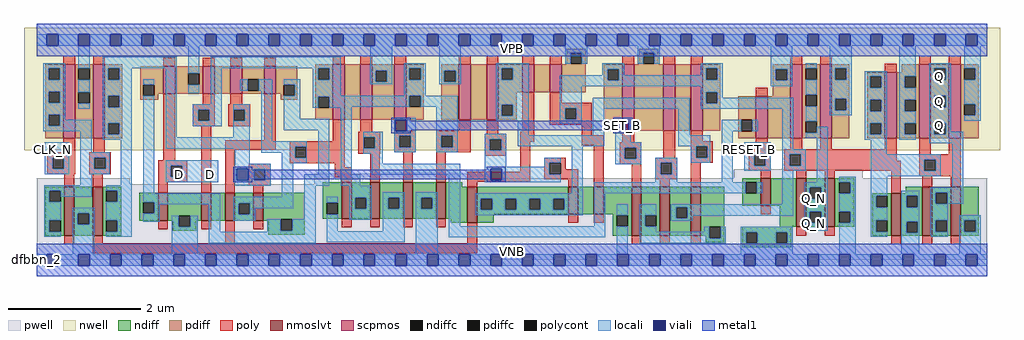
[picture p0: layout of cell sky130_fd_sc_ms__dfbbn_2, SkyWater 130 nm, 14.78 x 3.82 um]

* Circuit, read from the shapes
.subckt sky130_fd_sc_ms__dfbbn_2 CLK_N D RESET_B SET_B VGND VNB VPB VPWR Q Q_N
XM1 VGND CLK_N n1 VNB sky130_fd_pr__nfet_01v8_lvt w=0.74 l=0.15
XM2 n2 n1 VGND VNB sky130_fd_pr__nfet_01v8_lvt w=0.74 l=0.15
XM3 VGND D n3 VNB sky130_fd_pr__nfet_01v8_lvt w=0.42 l=0.15
XM4 n4 n5 VGND VNB sky130_fd_pr__nfet_01v8_lvt w=0.42 l=0.15
XM5 n6 n1 n4 VNB sky130_fd_pr__nfet_01v8_lvt w=0.42 l=0.15
XM6 n3 n2 n6 VNB sky130_fd_pr__nfet_01v8_lvt w=0.42 l=0.15
XM7 n5 n6 n7 VNB sky130_fd_pr__nfet_01v8_lvt w=0.55 l=0.15
XM8 n7 n8 n5 VNB sky130_fd_pr__nfet_01v8_lvt w=0.55 l=0.15
XM9 VGND SET_B n7 VNB sky130_fd_pr__nfet_01v8_lvt w=0.55 l=0.15
XM10 n9 n5 VGND VNB sky130_fd_pr__nfet_01v8_lvt w=0.55 l=0.15
XM11 n10 n1 n9 VNB sky130_fd_pr__nfet_01v8_lvt w=0.55 l=0.15
XM12 n11 n2 n10 VNB sky130_fd_pr__nfet_01v8_lvt w=0.42 l=0.15
XM13 VGND n12 n11 VNB sky130_fd_pr__nfet_01v8_lvt w=0.42 l=0.15
XM14 n13 SET_B VGND VNB sky130_fd_pr__nfet_01v8_lvt w=0.74 l=0.15
XM15 n12 n8 n13 VNB sky130_fd_pr__nfet_01v8_lvt w=0.74 l=0.15
XM16 n13 n10 n12 VNB sky130_fd_pr__nfet_01v8_lvt w=0.74 l=0.15
XM17 VGND RESET_B n8 VNB sky130_fd_pr__nfet_01v8_lvt w=0.42 l=0.15
XM18 Q_N n12 VGND VNB sky130_fd_pr__nfet_01v8_lvt w=0.74 l=0.15 m=2
XM19 VGND n12 n14 VNB sky130_fd_pr__nfet_01v8_lvt w=0.64 l=0.15
XM20 Q n14 VGND VNB sky130_fd_pr__nfet_01v8_lvt w=0.74 l=0.15 m=2
XM21 VPWR CLK_N n1 VPB sky130_fd_pr__pfet_01v8 w=1.12 l=0.18
XM22 n2 n1 VPWR VPB sky130_fd_pr__pfet_01v8 w=1.12 l=0.18
XM23 VPWR D n3 VPB sky130_fd_pr__pfet_01v8 w=0.42 l=0.18
XM24 n15 n5 VPWR VPB sky130_fd_pr__pfet_01v8 w=0.42 l=0.18
XM25 n6 n2 n15 VPB sky130_fd_pr__pfet_01v8 w=0.42 l=0.18
XM26 n3 n1 n6 VPB sky130_fd_pr__pfet_01v8 w=0.42 l=0.18
XM27 n16 n6 n5 VPB sky130_fd_pr__pfet_01v8 w=0.84 l=0.18
XM28 VPWR n8 n16 VPB sky130_fd_pr__pfet_01v8 w=0.84 l=0.18
XM29 n5 SET_B VPWR VPB sky130_fd_pr__pfet_01v8 w=0.84 l=0.18
XM30 n17 n5 VPWR VPB sky130_fd_pr__pfet_01v8 w=0.84 l=0.18
XM31 n10 n2 n17 VPB sky130_fd_pr__pfet_01v8 w=0.84 l=0.18
XM32 n18 n1 n10 VPB sky130_fd_pr__pfet_01v8 w=0.42 l=0.18
XM33 VPWR n12 n18 VPB sky130_fd_pr__pfet_01v8 w=0.42 l=0.18
XM34 VPWR SET_B n12 VPB sky130_fd_pr__pfet_01v8 w=1 l=0.18
XM35 n19 n8 VPWR VPB sky130_fd_pr__pfet_01v8 w=1 l=0.18
XM36 n12 n10 n19 VPB sky130_fd_pr__pfet_01v8 w=1 l=0.18
XM37 VPWR RESET_B n8 VPB sky130_fd_pr__pfet_01v8 w=0.64 l=0.18
XM38 Q_N n12 VPWR VPB sky130_fd_pr__pfet_01v8 w=1.12 l=0.18 m=2
XM39 VPWR n12 n14 VPB sky130_fd_pr__pfet_01v8 w=1 l=0.18
XM40 Q n14 VPWR VPB sky130_fd_pr__pfet_01v8 w=1.12 l=0.18 m=2
.ends

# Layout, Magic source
magic
tech sky130A
magscale 1 2
<< nwell >>
rect -38 332 2918 704
<< pwell >>
rect 841 248 1316 261
rect 2111 248 2503 274
rect 1 229 283 248
rect 841 229 2879 248
rect 1 49 2879 229
rect 0 0 2880 49
<< scpmos >>
rect 81 368 117 592
rect 171 368 207 592
rect 384 503 420 587
rect 503 503 539 587
rect 587 503 623 587
rect 689 503 725 587
rect 897 424 933 592
rect 981 424 1017 592
rect 1083 424 1119 592
rect 1279 424 1315 592
rect 1363 424 1399 592
rect 1471 508 1507 592
rect 1555 508 1591 592
rect 1774 392 1810 592
rect 1898 392 1934 592
rect 1982 392 2018 592
rect 2178 368 2214 496
rect 2283 368 2319 592
rect 2373 368 2409 592
rect 2569 368 2605 568
rect 2673 368 2709 592
rect 2763 368 2799 592
<< nmoslvt >>
rect 84 74 114 222
rect 170 74 200 222
rect 368 119 398 203
rect 499 119 529 203
rect 571 119 601 203
rect 657 119 687 203
rect 924 125 954 235
rect 1010 125 1040 235
rect 1110 125 1140 235
rect 1210 125 1240 235
rect 1305 112 1335 222
rect 1610 138 1640 222
rect 1688 138 1718 222
rect 1802 74 1832 222
rect 1888 74 1918 222
rect 1982 74 2012 222
rect 2193 164 2223 248
rect 2301 100 2331 248
rect 2387 100 2417 248
rect 2588 74 2618 202
rect 2683 74 2713 222
rect 2769 74 2799 222
<< ndiff >>
rect 27 210 84 222
rect 27 176 39 210
rect 73 176 84 210
rect 27 120 84 176
rect 27 86 39 120
rect 73 86 84 120
rect 27 74 84 86
rect 114 142 170 222
rect 114 108 125 142
rect 159 108 170 142
rect 114 74 170 108
rect 200 210 257 222
rect 200 176 211 210
rect 245 176 257 210
rect 200 120 257 176
rect 200 86 211 120
rect 245 86 257 120
rect 311 175 368 203
rect 311 141 323 175
rect 357 141 368 175
rect 311 119 368 141
rect 398 134 499 203
rect 398 119 431 134
rect 413 100 431 119
rect 465 119 499 134
rect 529 119 571 203
rect 601 172 657 203
rect 601 138 612 172
rect 646 138 657 172
rect 601 119 657 138
rect 687 123 813 203
rect 867 173 924 235
rect 867 139 879 173
rect 913 139 924 173
rect 867 125 924 139
rect 954 189 1010 235
rect 954 155 965 189
rect 999 155 1010 189
rect 954 125 1010 155
rect 1040 189 1110 235
rect 1040 155 1065 189
rect 1099 155 1110 189
rect 1040 125 1110 155
rect 1140 189 1210 235
rect 1140 155 1165 189
rect 1199 155 1210 189
rect 1140 125 1210 155
rect 1240 222 1290 235
rect 2137 236 2193 248
rect 1240 125 1305 222
rect 687 119 740 123
rect 465 100 484 119
rect 413 88 484 100
rect 200 74 257 86
rect 702 89 740 119
rect 774 89 813 123
rect 1255 112 1305 125
rect 1335 186 1610 222
rect 1335 152 1346 186
rect 1380 152 1419 186
rect 1453 152 1492 186
rect 1526 152 1565 186
rect 1599 152 1610 186
rect 1335 138 1610 152
rect 1640 138 1688 222
rect 1718 138 1802 222
rect 1335 112 1385 138
rect 1745 136 1802 138
rect 702 77 813 89
rect 1745 102 1757 136
rect 1791 102 1802 136
rect 1745 74 1802 102
rect 1832 136 1888 222
rect 1832 102 1843 136
rect 1877 102 1888 136
rect 1832 74 1888 102
rect 1918 160 1982 222
rect 1918 126 1937 160
rect 1971 126 1982 160
rect 1918 74 1982 126
rect 2012 100 2083 222
rect 2137 202 2148 236
rect 2182 202 2193 236
rect 2137 164 2193 202
rect 2223 164 2301 248
rect 2251 100 2301 164
rect 2331 220 2387 248
rect 2331 186 2342 220
rect 2376 186 2387 220
rect 2331 146 2387 186
rect 2331 112 2342 146
rect 2376 112 2387 146
rect 2331 100 2387 112
rect 2417 236 2477 248
rect 2417 202 2431 236
rect 2465 202 2477 236
rect 2633 202 2683 222
rect 2417 146 2477 202
rect 2417 112 2431 146
rect 2465 112 2477 146
rect 2417 100 2477 112
rect 2531 194 2588 202
rect 2531 160 2543 194
rect 2577 160 2588 194
rect 2531 120 2588 160
rect 2012 74 2038 100
rect 2027 66 2038 74
rect 2072 66 2083 100
rect 2027 54 2083 66
rect 2137 84 2286 100
rect 2137 50 2149 84
rect 2183 50 2240 84
rect 2274 50 2286 84
rect 2531 86 2543 120
rect 2577 86 2588 120
rect 2531 74 2588 86
rect 2618 194 2683 202
rect 2618 160 2635 194
rect 2669 160 2683 194
rect 2618 116 2683 160
rect 2618 82 2635 116
rect 2669 82 2683 116
rect 2618 74 2683 82
rect 2713 204 2769 222
rect 2713 170 2724 204
rect 2758 170 2769 204
rect 2713 120 2769 170
rect 2713 86 2724 120
rect 2758 86 2769 120
rect 2713 74 2769 86
rect 2799 120 2853 222
rect 2799 86 2810 120
rect 2844 86 2853 120
rect 2799 74 2853 86
rect 2137 38 2286 50
<< pdiff >>
rect 1606 628 1664 639
rect 27 580 81 592
rect 27 546 37 580
rect 71 546 81 580
rect 27 510 81 546
rect 27 476 37 510
rect 71 476 81 510
rect 27 440 81 476
rect 27 406 37 440
rect 71 406 81 440
rect 27 368 81 406
rect 117 580 171 592
rect 117 546 127 580
rect 161 546 171 580
rect 117 508 171 546
rect 117 474 127 508
rect 161 474 171 508
rect 117 368 171 474
rect 207 580 260 592
rect 1606 594 1618 628
rect 1652 594 1664 628
rect 1825 628 1883 639
rect 1606 592 1664 594
rect 1825 594 1837 628
rect 1871 594 1883 628
rect 1825 592 1883 594
rect 207 546 217 580
rect 251 546 260 580
rect 207 497 260 546
rect 207 463 217 497
rect 251 463 260 497
rect 314 531 384 587
rect 314 497 323 531
rect 357 503 384 531
rect 420 565 503 587
rect 420 531 459 565
rect 493 531 503 565
rect 420 503 503 531
rect 539 503 587 587
rect 623 547 689 587
rect 623 513 639 547
rect 673 513 689 547
rect 623 503 689 513
rect 725 531 790 587
rect 725 503 748 531
rect 357 497 369 503
rect 314 485 369 497
rect 207 414 260 463
rect 207 380 217 414
rect 251 380 260 414
rect 207 368 260 380
rect 740 497 748 503
rect 782 497 790 531
rect 740 485 790 497
rect 844 580 897 592
rect 844 546 853 580
rect 887 546 897 580
rect 844 495 897 546
rect 844 461 853 495
rect 887 461 897 495
rect 844 424 897 461
rect 933 424 981 592
rect 1017 573 1083 592
rect 1017 539 1027 573
rect 1061 539 1083 573
rect 1017 424 1083 539
rect 1119 580 1172 592
rect 1119 546 1129 580
rect 1163 546 1172 580
rect 1119 498 1172 546
rect 1119 464 1129 498
rect 1163 464 1172 498
rect 1119 424 1172 464
rect 1226 573 1279 592
rect 1226 539 1235 573
rect 1269 539 1279 573
rect 1226 424 1279 539
rect 1315 424 1363 592
rect 1399 580 1471 592
rect 1399 546 1409 580
rect 1443 546 1471 580
rect 1399 508 1471 546
rect 1507 508 1555 592
rect 1591 508 1664 592
rect 1718 578 1774 592
rect 1718 544 1730 578
rect 1764 544 1774 578
rect 1399 470 1455 508
rect 1399 436 1409 470
rect 1443 436 1455 470
rect 1399 424 1455 436
rect 1718 392 1774 544
rect 1810 392 1898 592
rect 1934 392 1982 592
rect 2018 580 2071 592
rect 2018 546 2028 580
rect 2062 546 2071 580
rect 2018 508 2071 546
rect 2229 578 2283 592
rect 2229 544 2239 578
rect 2273 544 2283 578
rect 2018 474 2028 508
rect 2062 474 2071 508
rect 2229 496 2283 544
rect 2018 392 2071 474
rect 2125 424 2178 496
rect 2125 390 2134 424
rect 2168 390 2178 424
rect 2125 368 2178 390
rect 2214 368 2283 496
rect 2319 580 2373 592
rect 2319 546 2329 580
rect 2363 546 2373 580
rect 2319 500 2373 546
rect 2319 466 2329 500
rect 2363 466 2373 500
rect 2319 420 2373 466
rect 2319 386 2329 420
rect 2363 386 2373 420
rect 2319 368 2373 386
rect 2409 580 2462 592
rect 2409 546 2419 580
rect 2453 546 2462 580
rect 2620 568 2673 592
rect 2409 488 2462 546
rect 2409 454 2419 488
rect 2453 454 2462 488
rect 2409 368 2462 454
rect 2516 556 2569 568
rect 2516 522 2525 556
rect 2559 522 2569 556
rect 2516 485 2569 522
rect 2516 451 2525 485
rect 2559 451 2569 485
rect 2516 414 2569 451
rect 2516 380 2525 414
rect 2559 380 2569 414
rect 2516 368 2569 380
rect 2605 556 2673 568
rect 2605 522 2629 556
rect 2663 522 2673 556
rect 2605 485 2673 522
rect 2605 451 2629 485
rect 2663 451 2673 485
rect 2605 414 2673 451
rect 2605 380 2629 414
rect 2663 380 2673 414
rect 2605 368 2673 380
rect 2709 580 2763 592
rect 2709 546 2719 580
rect 2753 546 2763 580
rect 2709 497 2763 546
rect 2709 463 2719 497
rect 2753 463 2763 497
rect 2709 414 2763 463
rect 2709 380 2719 414
rect 2753 380 2763 414
rect 2709 368 2763 380
rect 2799 580 2853 592
rect 2799 546 2809 580
rect 2843 546 2853 580
rect 2799 472 2853 546
rect 2799 438 2809 472
rect 2843 438 2853 472
rect 2799 368 2853 438
<< ndiffc >>
rect 39 176 73 210
rect 39 86 73 120
rect 125 108 159 142
rect 211 176 245 210
rect 211 86 245 120
rect 323 141 357 175
rect 431 100 465 134
rect 612 138 646 172
rect 879 139 913 173
rect 965 155 999 189
rect 1065 155 1099 189
rect 1165 155 1199 189
rect 740 89 774 123
rect 1346 152 1380 186
rect 1419 152 1453 186
rect 1492 152 1526 186
rect 1565 152 1599 186
rect 1757 102 1791 136
rect 1843 102 1877 136
rect 1937 126 1971 160
rect 2148 202 2182 236
rect 2342 186 2376 220
rect 2342 112 2376 146
rect 2431 202 2465 236
rect 2431 112 2465 146
rect 2543 160 2577 194
rect 2038 66 2072 100
rect 2149 50 2183 84
rect 2240 50 2274 84
rect 2543 86 2577 120
rect 2635 160 2669 194
rect 2635 82 2669 116
rect 2724 170 2758 204
rect 2724 86 2758 120
rect 2810 86 2844 120
<< pdiffc >>
rect 37 546 71 580
rect 37 476 71 510
rect 37 406 71 440
rect 127 546 161 580
rect 127 474 161 508
rect 1618 594 1652 628
rect 1837 594 1871 628
rect 217 546 251 580
rect 217 463 251 497
rect 323 497 357 531
rect 459 531 493 565
rect 639 513 673 547
rect 217 380 251 414
rect 748 497 782 531
rect 853 546 887 580
rect 853 461 887 495
rect 1027 539 1061 573
rect 1129 546 1163 580
rect 1129 464 1163 498
rect 1235 539 1269 573
rect 1409 546 1443 580
rect 1730 544 1764 578
rect 1409 436 1443 470
rect 2028 546 2062 580
rect 2239 544 2273 578
rect 2028 474 2062 508
rect 2134 390 2168 424
rect 2329 546 2363 580
rect 2329 466 2363 500
rect 2329 386 2363 420
rect 2419 546 2453 580
rect 2419 454 2453 488
rect 2525 522 2559 556
rect 2525 451 2559 485
rect 2525 380 2559 414
rect 2629 522 2663 556
rect 2629 451 2663 485
rect 2629 380 2663 414
rect 2719 546 2753 580
rect 2719 463 2753 497
rect 2719 380 2753 414
rect 2809 546 2843 580
rect 2809 438 2843 472
<< poly >>
rect 81 592 117 618
rect 171 592 207 618
rect 384 587 420 613
rect 503 587 539 613
rect 587 587 623 613
rect 689 587 725 613
rect 897 592 933 618
rect 981 592 1017 618
rect 1083 592 1119 618
rect 1279 592 1315 618
rect 1363 592 1399 618
rect 1471 592 1507 618
rect 1555 592 1591 618
rect 1774 592 1810 618
rect 1898 592 1934 618
rect 1982 592 2018 618
rect 2283 592 2319 618
rect 2373 592 2409 618
rect 81 326 117 368
rect 171 326 207 368
rect 33 310 117 326
rect 33 276 49 310
rect 83 276 117 310
rect 33 260 117 276
rect 159 310 225 326
rect 159 276 175 310
rect 209 276 225 310
rect 384 302 420 503
rect 503 471 539 503
rect 587 471 623 503
rect 473 455 539 471
rect 473 421 489 455
rect 523 421 539 455
rect 473 405 539 421
rect 581 455 647 471
rect 581 421 597 455
rect 631 421 647 455
rect 581 405 647 421
rect 159 260 225 276
rect 368 286 457 302
rect 84 222 114 260
rect 170 222 200 260
rect 368 252 407 286
rect 441 252 457 286
rect 368 236 457 252
rect 368 203 398 236
rect 499 203 529 405
rect 689 363 725 503
rect 571 333 725 363
rect 897 359 933 424
rect 981 388 1017 424
rect 1083 392 1119 424
rect 1279 392 1315 424
rect 767 343 933 359
rect 571 203 601 333
rect 767 309 783 343
rect 817 309 933 343
rect 975 372 1041 388
rect 975 338 991 372
rect 1025 338 1041 372
rect 975 322 1041 338
rect 1083 376 1149 392
rect 1083 342 1099 376
rect 1133 342 1149 376
rect 1083 326 1149 342
rect 1210 376 1315 392
rect 1363 382 1399 424
rect 1471 388 1507 508
rect 1555 476 1591 508
rect 1555 460 1681 476
rect 1555 426 1601 460
rect 1635 426 1681 460
rect 1555 410 1681 426
rect 1210 342 1226 376
rect 1260 342 1315 376
rect 1210 326 1315 342
rect 1357 366 1423 382
rect 1357 332 1373 366
rect 1407 332 1423 366
rect 767 293 933 309
rect 643 275 709 291
rect 643 241 659 275
rect 693 241 709 275
rect 903 280 933 293
rect 903 250 954 280
rect 643 225 709 241
rect 924 235 954 250
rect 1010 235 1040 322
rect 1110 235 1140 326
rect 1210 235 1240 326
rect 1357 316 1423 332
rect 1465 358 1507 388
rect 1651 377 1681 410
rect 2178 496 2214 522
rect 1465 267 1495 358
rect 1651 347 1718 377
rect 1774 356 1810 392
rect 1305 237 1495 267
rect 1537 294 1603 310
rect 1537 260 1553 294
rect 1587 274 1603 294
rect 1587 260 1640 274
rect 1537 244 1640 260
rect 657 203 687 225
rect 368 93 398 119
rect 1305 222 1335 237
rect 1610 222 1640 244
rect 1688 222 1718 347
rect 1766 340 1832 356
rect 1766 306 1782 340
rect 1816 306 1832 340
rect 1898 310 1934 392
rect 1982 360 2018 392
rect 2569 568 2605 594
rect 2673 592 2709 618
rect 2763 592 2799 618
rect 1982 344 2048 360
rect 1982 310 1998 344
rect 2032 310 2048 344
rect 2178 336 2214 368
rect 2283 336 2319 368
rect 2373 336 2409 368
rect 2569 336 2605 368
rect 1766 290 1832 306
rect 1802 222 1832 290
rect 1874 294 1940 310
rect 1874 260 1890 294
rect 1924 260 1940 294
rect 1874 244 1940 260
rect 1982 294 2048 310
rect 2157 320 2223 336
rect 1888 222 1918 244
rect 1982 222 2012 294
rect 2157 286 2173 320
rect 2207 286 2223 320
rect 2157 270 2223 286
rect 2265 320 2605 336
rect 2265 286 2281 320
rect 2315 300 2605 320
rect 2673 320 2709 368
rect 2763 320 2799 368
rect 2673 304 2799 320
rect 2315 286 2618 300
rect 2265 270 2618 286
rect 2193 248 2223 270
rect 2301 248 2331 270
rect 2387 248 2417 270
rect 499 93 529 119
rect 84 48 114 74
rect 170 51 200 74
rect 571 51 601 119
rect 657 93 687 119
rect 924 99 954 125
rect 1010 99 1040 125
rect 1110 99 1140 125
rect 1210 99 1240 125
rect 1610 112 1640 138
rect 1688 112 1718 138
rect 1305 51 1335 112
rect 2193 138 2223 164
rect 2588 202 2618 270
rect 2673 270 2689 304
rect 2723 270 2799 304
rect 2673 254 2799 270
rect 2683 222 2713 254
rect 2769 222 2799 254
rect 170 21 1335 51
rect 1802 48 1832 74
rect 1888 48 1918 74
rect 1982 48 2012 74
rect 2301 74 2331 100
rect 2387 74 2417 100
rect 2588 48 2618 74
rect 2683 48 2713 74
rect 2769 48 2799 74
<< polycont >>
rect 49 276 83 310
rect 175 276 209 310
rect 489 421 523 455
rect 597 421 631 455
rect 407 252 441 286
rect 783 309 817 343
rect 991 338 1025 372
rect 1099 342 1133 376
rect 1601 426 1635 460
rect 1226 342 1260 376
rect 1373 332 1407 366
rect 659 241 693 275
rect 1553 260 1587 294
rect 1782 306 1816 340
rect 1998 310 2032 344
rect 1890 260 1924 294
rect 2173 286 2207 320
rect 2281 286 2315 320
rect 2689 270 2723 304
<< locali >>
rect 0 649 31 683
rect 65 649 127 683
rect 161 649 223 683
rect 257 649 319 683
rect 353 649 415 683
rect 449 649 511 683
rect 545 649 607 683
rect 641 649 703 683
rect 737 649 799 683
rect 833 649 895 683
rect 929 649 991 683
rect 1025 649 1087 683
rect 1121 649 1183 683
rect 1217 649 1279 683
rect 1313 649 1375 683
rect 1409 649 1471 683
rect 1505 649 1567 683
rect 1601 649 1663 683
rect 1697 649 1759 683
rect 1793 649 1855 683
rect 1889 649 1951 683
rect 1985 649 2047 683
rect 2081 649 2143 683
rect 2177 649 2239 683
rect 2273 649 2335 683
rect 2369 649 2431 683
rect 2465 649 2527 683
rect 2561 649 2623 683
rect 2657 649 2719 683
rect 2753 649 2815 683
rect 2849 649 2880 683
rect 21 580 87 596
rect 21 546 37 580
rect 71 546 87 580
rect 21 510 87 546
rect 21 476 37 510
rect 71 476 87 510
rect 21 440 87 476
rect 127 580 161 649
rect 127 508 161 546
rect 127 458 161 474
rect 201 581 425 615
rect 201 580 289 581
rect 201 546 217 580
rect 251 546 289 580
rect 201 497 289 546
rect 201 463 217 497
rect 251 463 289 497
rect 21 406 37 440
rect 71 424 87 440
rect 71 406 167 424
rect 21 390 167 406
rect 25 310 99 356
rect 25 276 49 310
rect 83 276 99 310
rect 25 260 99 276
rect 133 326 167 390
rect 201 414 289 463
rect 201 380 217 414
rect 251 380 289 414
rect 201 364 289 380
rect 133 310 221 326
rect 133 276 175 310
rect 209 276 221 310
rect 133 260 221 276
rect 133 226 167 260
rect 255 226 289 364
rect 23 210 167 226
rect 23 176 39 210
rect 73 192 167 210
rect 211 210 289 226
rect 23 120 73 176
rect 245 176 289 210
rect 23 86 39 120
rect 23 70 73 86
rect 109 142 175 158
rect 109 108 125 142
rect 159 108 175 142
rect 109 17 175 108
rect 211 120 289 176
rect 245 86 289 120
rect 323 531 357 547
rect 323 202 357 497
rect 391 371 425 581
rect 459 565 493 649
rect 459 505 493 531
rect 527 581 921 615
rect 527 471 561 581
rect 837 580 921 581
rect 617 513 639 547
rect 673 513 714 547
rect 473 455 561 471
rect 473 421 489 455
rect 523 421 561 455
rect 473 405 561 421
rect 595 455 646 471
rect 595 421 597 455
rect 631 421 646 455
rect 595 371 646 421
rect 391 337 646 371
rect 391 286 551 302
rect 391 252 407 286
rect 441 252 551 286
rect 391 236 551 252
rect 601 291 646 337
rect 680 359 714 513
rect 748 531 798 547
rect 782 497 798 531
rect 748 427 798 497
rect 837 546 853 580
rect 887 546 921 580
rect 837 498 921 546
rect 1011 573 1077 649
rect 1011 539 1027 573
rect 1061 539 1077 573
rect 1011 532 1077 539
rect 1113 580 1179 596
rect 1113 546 1129 580
rect 1163 546 1179 580
rect 1113 498 1179 546
rect 1219 573 1285 649
rect 1602 628 1668 649
rect 1219 539 1235 573
rect 1269 539 1285 573
rect 1219 532 1285 539
rect 1393 580 1491 596
rect 1602 594 1618 628
rect 1652 594 1668 628
rect 1821 628 1887 649
rect 1393 546 1409 580
rect 1443 546 1491 580
rect 1714 578 1780 596
rect 1821 594 1837 628
rect 1871 594 1887 628
rect 1714 560 1730 578
rect 837 495 1129 498
rect 837 461 853 495
rect 887 464 1129 495
rect 1163 464 1276 498
rect 887 461 955 464
rect 748 393 887 427
rect 680 343 819 359
rect 680 325 783 343
rect 743 309 783 325
rect 817 309 819 343
rect 743 293 819 309
rect 601 276 709 291
rect 601 242 607 276
rect 641 275 709 276
rect 641 242 659 275
rect 601 241 659 242
rect 693 241 709 275
rect 601 225 709 241
rect 323 175 556 202
rect 743 191 777 293
rect 853 259 887 393
rect 357 168 556 175
rect 357 141 373 168
rect 323 115 373 141
rect 211 70 289 86
rect 409 100 431 134
rect 465 100 488 134
rect 409 17 488 100
rect 522 85 556 168
rect 596 172 777 191
rect 596 138 612 172
rect 646 157 777 172
rect 811 225 887 259
rect 921 259 955 461
rect 1083 424 1149 430
rect 1083 390 1087 424
rect 1121 390 1149 424
rect 989 372 1049 388
rect 989 338 991 372
rect 1025 338 1049 372
rect 989 322 1049 338
rect 1083 376 1149 390
rect 1083 342 1099 376
rect 1133 342 1149 376
rect 1083 326 1149 342
rect 1210 376 1276 464
rect 1393 470 1491 546
rect 1393 436 1409 470
rect 1443 436 1491 470
rect 1393 420 1491 436
rect 1210 342 1226 376
rect 1260 342 1276 376
rect 1210 326 1276 342
rect 1357 366 1423 382
rect 1357 332 1373 366
rect 1407 332 1423 366
rect 1457 378 1491 420
rect 1585 544 1730 560
rect 1764 560 1780 578
rect 2012 580 2078 596
rect 2012 560 2028 580
rect 1764 546 2028 560
rect 2062 546 2078 580
rect 1764 544 2078 546
rect 1585 526 2078 544
rect 2223 578 2289 649
rect 2223 544 2239 578
rect 2273 544 2289 578
rect 2223 526 2289 544
rect 2329 580 2363 596
rect 1585 460 1651 526
rect 2012 508 2078 526
rect 1585 426 1601 460
rect 1635 426 1651 460
rect 1585 412 1651 426
rect 1685 458 1978 492
rect 2012 474 2028 508
rect 2062 492 2078 508
rect 2329 500 2363 546
rect 2062 474 2292 492
rect 2012 458 2292 474
rect 1685 378 1719 458
rect 1457 344 1719 378
rect 1753 390 1759 424
rect 1793 390 1799 424
rect 1753 356 1799 390
rect 1944 378 1978 458
rect 2075 390 2134 424
rect 2168 390 2184 424
rect 1015 292 1049 322
rect 921 225 981 259
rect 1015 258 1283 292
rect 646 138 662 157
rect 596 119 662 138
rect 811 123 845 225
rect 947 224 981 225
rect 698 89 740 123
rect 774 89 845 123
rect 698 85 845 89
rect 522 51 845 85
rect 879 173 913 191
rect 879 87 913 139
rect 947 189 1015 224
rect 947 155 965 189
rect 999 155 1015 189
rect 947 121 1015 155
rect 1049 189 1115 205
rect 1049 155 1065 189
rect 1099 155 1115 189
rect 1049 87 1115 155
rect 879 53 1115 87
rect 1149 189 1215 205
rect 1149 155 1165 189
rect 1199 155 1215 189
rect 1149 17 1215 155
rect 1249 102 1283 258
rect 1357 282 1423 332
rect 1537 294 1587 310
rect 1537 282 1553 294
rect 1357 276 1553 282
rect 1357 242 1375 276
rect 1409 260 1553 276
rect 1409 242 1587 260
rect 1357 236 1587 242
rect 1621 202 1655 344
rect 1753 340 1832 356
rect 1944 344 2041 378
rect 1753 306 1782 340
rect 1816 306 1832 340
rect 1982 310 1998 344
rect 2032 310 2041 344
rect 1753 290 1832 306
rect 1874 294 1940 310
rect 1982 294 2041 310
rect 1874 260 1890 294
rect 1924 260 1940 294
rect 1874 236 1940 260
rect 2075 236 2109 390
rect 2143 320 2223 356
rect 2143 286 2173 320
rect 2207 286 2223 320
rect 2143 270 2223 286
rect 2258 336 2292 458
rect 2329 420 2363 466
rect 2403 580 2469 649
rect 2403 546 2419 580
rect 2453 546 2469 580
rect 2403 488 2469 546
rect 2403 454 2419 488
rect 2453 454 2469 488
rect 2403 438 2469 454
rect 2509 556 2575 572
rect 2509 522 2525 556
rect 2559 522 2575 556
rect 2509 485 2575 522
rect 2509 451 2525 485
rect 2559 451 2575 485
rect 2509 414 2575 451
rect 2363 386 2397 404
rect 2329 370 2397 386
rect 2258 320 2329 336
rect 2258 286 2281 320
rect 2315 286 2329 320
rect 2258 270 2329 286
rect 1330 186 1655 202
rect 1330 152 1346 186
rect 1380 152 1419 186
rect 1453 152 1492 186
rect 1526 152 1565 186
rect 1599 152 1655 186
rect 1330 136 1655 152
rect 1689 202 2148 236
rect 2182 202 2198 236
rect 1689 102 1723 202
rect 2258 168 2292 270
rect 2363 236 2397 370
rect 2509 380 2525 414
rect 2559 380 2575 414
rect 2509 364 2575 380
rect 2613 556 2663 649
rect 2613 522 2629 556
rect 2613 485 2663 522
rect 2613 451 2629 485
rect 2613 414 2663 451
rect 2613 380 2629 414
rect 2613 364 2663 380
rect 2703 580 2769 596
rect 2703 546 2719 580
rect 2753 546 2769 580
rect 2703 497 2769 546
rect 2703 463 2719 497
rect 2753 463 2769 497
rect 2703 414 2769 463
rect 2809 580 2859 649
rect 2843 546 2859 580
rect 2809 472 2859 546
rect 2843 438 2859 472
rect 2809 422 2859 438
rect 2703 380 2719 414
rect 2753 388 2769 414
rect 2753 380 2807 388
rect 2527 320 2575 364
rect 2703 354 2807 380
rect 2527 304 2739 320
rect 2527 270 2689 304
rect 2723 270 2739 304
rect 2527 254 2739 270
rect 1249 68 1723 102
rect 1757 136 1791 168
rect 1757 17 1791 102
rect 1827 136 1877 168
rect 1827 102 1843 136
rect 1921 160 2292 168
rect 1921 126 1937 160
rect 1971 134 2292 160
rect 2326 220 2397 236
rect 2326 186 2342 220
rect 2376 186 2397 220
rect 2326 146 2397 186
rect 1971 126 1987 134
rect 1921 119 1987 126
rect 1827 85 1877 102
rect 2326 112 2342 146
rect 2376 112 2397 146
rect 2022 85 2038 100
rect 1827 66 2038 85
rect 2072 66 2088 100
rect 1827 51 2088 66
rect 2133 84 2290 100
rect 2326 88 2397 112
rect 2431 236 2481 252
rect 2465 202 2481 236
rect 2431 146 2481 202
rect 2465 112 2481 146
rect 2133 50 2149 84
rect 2183 50 2240 84
rect 2274 50 2290 84
rect 2133 17 2290 50
rect 2431 17 2481 112
rect 2527 194 2577 254
rect 2773 220 2807 354
rect 2527 160 2543 194
rect 2527 120 2577 160
rect 2527 86 2543 120
rect 2527 70 2577 86
rect 2619 194 2674 210
rect 2619 160 2635 194
rect 2669 160 2674 194
rect 2619 116 2674 160
rect 2619 82 2635 116
rect 2669 82 2674 116
rect 2619 17 2674 82
rect 2708 204 2807 220
rect 2708 170 2724 204
rect 2758 170 2807 204
rect 2708 120 2760 170
rect 2708 86 2724 120
rect 2758 86 2760 120
rect 2708 70 2760 86
rect 2794 120 2860 136
rect 2794 86 2810 120
rect 2844 86 2860 120
rect 2794 17 2860 86
rect 0 -17 31 17
rect 65 -17 127 17
rect 161 -17 223 17
rect 257 -17 319 17
rect 353 -17 415 17
rect 449 -17 511 17
rect 545 -17 607 17
rect 641 -17 703 17
rect 737 -17 799 17
rect 833 -17 895 17
rect 929 -17 991 17
rect 1025 -17 1087 17
rect 1121 -17 1183 17
rect 1217 -17 1279 17
rect 1313 -17 1375 17
rect 1409 -17 1471 17
rect 1505 -17 1567 17
rect 1601 -17 1663 17
rect 1697 -17 1759 17
rect 1793 -17 1855 17
rect 1889 -17 1951 17
rect 1985 -17 2047 17
rect 2081 -17 2143 17
rect 2177 -17 2239 17
rect 2273 -17 2335 17
rect 2369 -17 2431 17
rect 2465 -17 2527 17
rect 2561 -17 2623 17
rect 2657 -17 2719 17
rect 2753 -17 2815 17
rect 2849 -17 2880 17
<< viali >>
rect 31 649 65 683
rect 127 649 161 683
rect 223 649 257 683
rect 319 649 353 683
rect 415 649 449 683
rect 511 649 545 683
rect 607 649 641 683
rect 703 649 737 683
rect 799 649 833 683
rect 895 649 929 683
rect 991 649 1025 683
rect 1087 649 1121 683
rect 1183 649 1217 683
rect 1279 649 1313 683
rect 1375 649 1409 683
rect 1471 649 1505 683
rect 1567 649 1601 683
rect 1663 649 1697 683
rect 1759 649 1793 683
rect 1855 649 1889 683
rect 1951 649 1985 683
rect 2047 649 2081 683
rect 2143 649 2177 683
rect 2239 649 2273 683
rect 2335 649 2369 683
rect 2431 649 2465 683
rect 2527 649 2561 683
rect 2623 649 2657 683
rect 2719 649 2753 683
rect 2815 649 2849 683
rect 607 242 641 276
rect 1087 390 1121 424
rect 1759 390 1793 424
rect 1375 242 1409 276
rect 31 -17 65 17
rect 127 -17 161 17
rect 223 -17 257 17
rect 319 -17 353 17
rect 415 -17 449 17
rect 511 -17 545 17
rect 607 -17 641 17
rect 703 -17 737 17
rect 799 -17 833 17
rect 895 -17 929 17
rect 991 -17 1025 17
rect 1087 -17 1121 17
rect 1183 -17 1217 17
rect 1279 -17 1313 17
rect 1375 -17 1409 17
rect 1471 -17 1505 17
rect 1567 -17 1601 17
rect 1663 -17 1697 17
rect 1759 -17 1793 17
rect 1855 -17 1889 17
rect 1951 -17 1985 17
rect 2047 -17 2081 17
rect 2143 -17 2177 17
rect 2239 -17 2273 17
rect 2335 -17 2369 17
rect 2431 -17 2465 17
rect 2527 -17 2561 17
rect 2623 -17 2657 17
rect 2719 -17 2753 17
rect 2815 -17 2849 17
<< metal1 >>
rect 0 683 2880 715
rect 0 649 31 683
rect 65 649 127 683
rect 161 649 223 683
rect 257 649 319 683
rect 353 649 415 683
rect 449 649 511 683
rect 545 649 607 683
rect 641 649 703 683
rect 737 649 799 683
rect 833 649 895 683
rect 929 649 991 683
rect 1025 649 1087 683
rect 1121 649 1183 683
rect 1217 649 1279 683
rect 1313 649 1375 683
rect 1409 649 1471 683
rect 1505 649 1567 683
rect 1601 649 1663 683
rect 1697 649 1759 683
rect 1793 649 1855 683
rect 1889 649 1951 683
rect 1985 649 2047 683
rect 2081 649 2143 683
rect 2177 649 2239 683
rect 2273 649 2335 683
rect 2369 649 2431 683
rect 2465 649 2527 683
rect 2561 649 2623 683
rect 2657 649 2719 683
rect 2753 649 2815 683
rect 2849 649 2880 683
rect 0 617 2880 649
rect 1075 424 1133 430
rect 1075 390 1087 424
rect 1121 421 1133 424
rect 1747 424 1805 430
rect 1747 421 1759 424
rect 1121 393 1759 421
rect 1121 390 1133 393
rect 1075 384 1133 390
rect 1747 390 1759 393
rect 1793 390 1805 424
rect 1747 384 1805 390
rect 595 276 653 282
rect 595 242 607 276
rect 641 273 653 276
rect 1363 276 1421 282
rect 1363 273 1375 276
rect 641 245 1375 273
rect 641 242 653 245
rect 595 236 653 242
rect 1363 242 1375 245
rect 1409 242 1421 276
rect 1363 236 1421 242
rect 0 17 2880 49
rect 0 -17 31 17
rect 65 -17 127 17
rect 161 -17 223 17
rect 257 -17 319 17
rect 353 -17 415 17
rect 449 -17 511 17
rect 545 -17 607 17
rect 641 -17 703 17
rect 737 -17 799 17
rect 833 -17 895 17
rect 929 -17 991 17
rect 1025 -17 1087 17
rect 1121 -17 1183 17
rect 1217 -17 1279 17
rect 1313 -17 1375 17
rect 1409 -17 1471 17
rect 1505 -17 1567 17
rect 1601 -17 1663 17
rect 1697 -17 1759 17
rect 1793 -17 1855 17
rect 1889 -17 1951 17
rect 1985 -17 2047 17
rect 2081 -17 2143 17
rect 2177 -17 2239 17
rect 2273 -17 2335 17
rect 2369 -17 2431 17
rect 2465 -17 2527 17
rect 2561 -17 2623 17
rect 2657 -17 2719 17
rect 2753 -17 2815 17
rect 2849 -17 2880 17
rect 0 -49 2880 -17
<< labels >>
flabel pwell s 0 0 2880 49 0 FreeSans 200 0 0 0 VNB
port 6 nsew ground bidirectional
flabel nwell s 0 617 2880 666 0 FreeSans 200 0 0 0 VPB
port 7 nsew power bidirectional
rlabel comment s 0 0 0 0 4 dfbbn_2
flabel metal1 s 1759 390 1793 424 0 FreeSans 340 0 0 0 SET_B
port 4 nsew signal input
flabel metal1 s 0 617 2880 666 0 FreeSans 340 0 0 0 VPWR
port 8 nsew power bidirectional
flabel metal1 s 0 0 2880 49 0 FreeSans 340 0 0 0 VGND
port 5 nsew ground bidirectional
flabel locali s 2143 316 2177 350 0 FreeSans 340 0 0 0 RESET_B
port 3 nsew signal input
flabel locali s 415 242 449 276 0 FreeSans 340 0 0 0 D
port 2 nsew signal input
flabel locali s 511 242 545 276 0 FreeSans 340 0 0 0 D
port 2 nsew signal input
flabel locali s 31 316 65 350 0 FreeSans 340 0 0 0 CLK_N
port 1 nsew clock input
flabel locali s 2335 94 2369 128 0 FreeSans 340 0 0 0 Q_N
port 10 nsew signal output
flabel locali s 2335 168 2369 202 0 FreeSans 340 0 0 0 Q_N
port 10 nsew signal output
flabel locali s 2719 390 2753 424 0 FreeSans 340 0 0 0 Q
port 9 nsew signal output
flabel locali s 2719 464 2753 498 0 FreeSans 340 0 0 0 Q
port 9 nsew signal output
flabel locali s 2719 538 2753 572 0 FreeSans 340 0 0 0 Q
port 9 nsew signal output
<< properties >>
string LEFsite unit
string LEFclass CORE
string FIXED_BBOX 0 0 2880 666
string GDS_FILE $PDKPATH/libs.ref/sky130_fd_sc_ms/gds/sky130_fd_sc_ms.gds
string LEFsymmetry X Y
string GDS_END 1093700
string GDS_START 1072952
<< end >>
